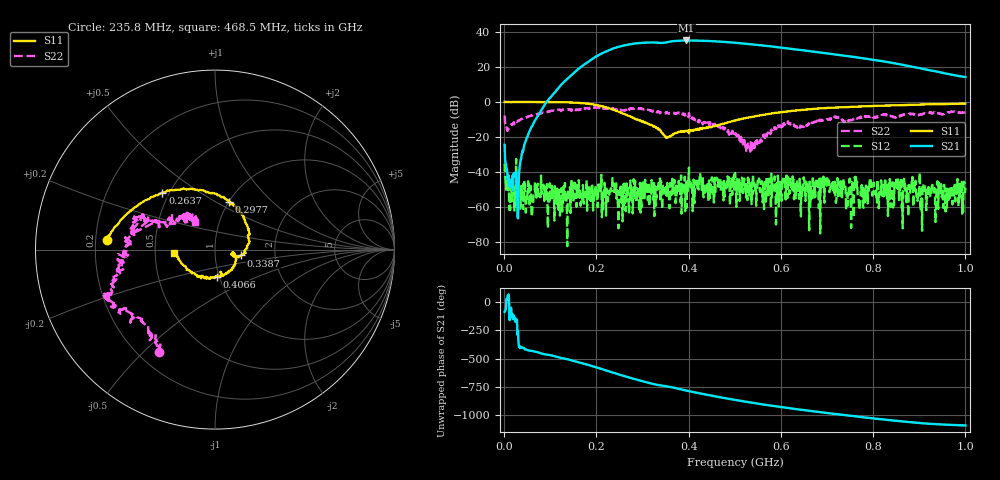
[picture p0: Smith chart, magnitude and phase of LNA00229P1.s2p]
! Created with skrf 1.9.0 (http://scikit-rf.org).
# Hz S RI R 50.0
!freq ReS11 ImS11 ReS21 ImS21 ReS12 ImS12 ReS22 ImS22
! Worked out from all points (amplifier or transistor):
!   1001 points, 1 MHz to 1 GHz, reference 50 ohm
!   highest |S21| = 35.2 dB at 394.6 MHz (marker M1)
!   |S21| within 3 dB of that: 257.4 MHz to 564.9 MHz (307.4 MHz wide, 74.8 % of centre)
!   unconditionally stable (mu >= 1): start of sweep to 92.85 MHz; 234.8 MHz to 400.3 MHz; 400.8 MHz to end of sweep (the widest 3 of 22)
!   at 166.8 MHz: K = 2.97, MAG = 30.2 dB, |S12| = -55.5 dB
!   at 500.5 MHz: K = 1.25, MAG = 34.3 dB, |S12| = -40.8 dB
!   at 1 GHz: K = 3.77, MAG = 22.9 dB, |S12| = -49.0 dB
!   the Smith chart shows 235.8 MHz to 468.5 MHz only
!   S11 on the Smith chart (normalised r, x): 235.8 MHz: 0.25, +0.04; 263.7 MHz: 0.46, +0.36; 297.7 MHz: 1.00, +0.58; 338.7 MHz: 1.34, -0.09; 406.6 MHz: 0.98, -0.30; 468.5 MHz: 0.63, -0.02
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1000000  0.998 0.0161  0.00155 -0.0591  0.00146 -0.0171  0.2701 0.3065
1.07893e8  0.519 -0.845  -0.8043 -1.57  0.00198 -0.00173  0.4253 -0.3822
1.67833e8  -0.2506 -0.8893  -10.37 -0.3082  -0.00157 0.000505  0.0256 -0.6178
2.06794e8  -0.656 -0.4147  -15.93 16.13  0.00192 -0.00383  -0.1728 -0.6483
2.35765e8  -0.6021 0.0547  -3.885 33.27  -0.003 -0.00303  -0.3131 -0.5708
2.63737e8  -0.2931 0.3172  19.81 37.22  -0.000697 0.000268  -0.4588 -0.3863
2.97703e8  0.0793 0.2671  44.86 19  -0.000192 0.000943  -0.5775 -0.2465
3.16684e8  0.1788 0.133  49.99 2.868  -0.00225 0.00146  -0.5444 -0.143
3.34666e8  0.1707 -0.0192  47.92 -11.02  0.00101 0.00461  -0.5061 -0.06
3.38662e8  0.1448 -0.0323  46.82 -13.38  0.000135 0.00139  -0.5108 -0.0162
3.67633e8  0.114 -0.0368  44.53 -32.39  0.00179 0.0041  -0.4569 0.1381
3.94606e8  0.0651 -0.1342  27.56 -50.33  0.00198 0.00438  -0.3935 0.1823
4.06594e8  0.0127 -0.1505  18.2 -54.2  0.00355 0.00101  -0.3137 0.1579
4.36564e8  -0.1178 -0.1306  -5.96 -55.56  0.00386 0.000302  -0.1729 0.1956
4.68532e8  -0.2267 -0.018  -27.19 -45.65  0.00437 0.00438  -0.1136 0.1559
5.005e8  -0.2498 0.1507  -39.82 -29.4  0.00653 -0.00641  -0.1126 0.0471
5.39461e8  -0.1713 0.3342  -43.36 -7.716  0.00721 -0.00382  -0.0441 0.00122
5.88412e8  0.0292 0.4834  -35.12 12.88  0.00212 -0.00114  -0.1395 -0.1126
6.67333e8  0.3985 0.4795  -12.6 24.57  -0.000573 -0.00214  -0.2514 -0.0594
7.53247e8  0.6698 0.2747  4.969 19.1  -0.000469 -0.00481  -0.2992 -0.00114
8.34166e8  0.7856 0.0225  10.58 8.575  -0.00428 0.00166  -0.4234 -0.00976
1e9  0.7294 -0.5129  5.087 -0.7719  -0.00199 0.00292  -0.3775 0.3355
